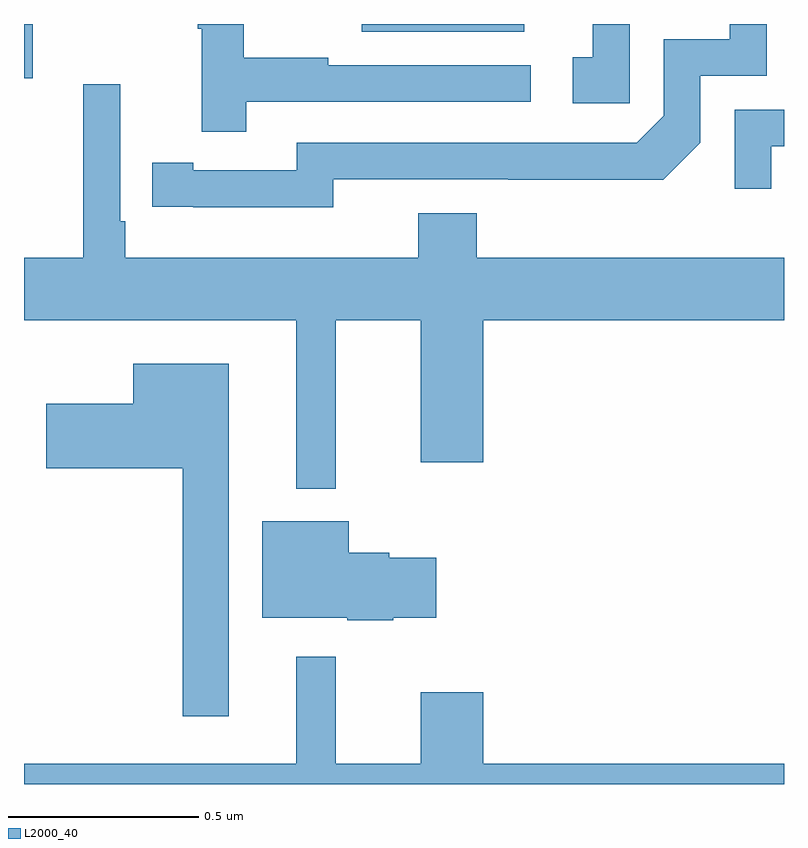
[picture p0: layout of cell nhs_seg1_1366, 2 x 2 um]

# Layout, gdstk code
import gdstk
lib = gdstk.Library(unit=1e-6, precision=1e-09)
def R(c, l, rs):  # rectangles x0, y0, x1, y1
    for r in rs: c.add(gdstk.rectangle(r[:2], r[2:], *l))
def P(c, l, *ps):  # polygons
    for p in ps: c.add(gdstk.Polygon(p, *l))
L2000_40 = (2000, 40)

nhs_seg1_1366 = lib.new_cell('nhs_seg1_1366')
R(nhs_seg1_1366, L2000_40, [(128,531.056,128.023,531.199), (128.889,531.179,129.316,531.199)])
P(nhs_seg1_1366, L2000_40, [(129.594,531.199),(129.497,531.199),(129.497,531.111),(129.444,531.111),(129.444,530.991),(129.594,530.991)],
  [(128.585,530.994),(129.334,530.994),(129.334,531.09),(128.801,531.09),(128.801,531.11),(128.578,531.11),(128.578,531.199),(128.457,531.199),(128.457,531.187),(128.468,531.187),(128.468,530.916),(128.585,530.916)],
  [(128.814,530.79),(129.274,530.79),(129.274,530.789),(129.682,530.789),(129.78,530.886),(129.78,531.063),(129.954,531.063),(129.954,531.199),(129.857,531.199),(129.857,531.159),(129.684,531.159),(129.684,530.958),(129.612,530.886),(128.718,530.886),(128.718,530.814),(128.446,530.814),(128.446,530.834),(128.338,530.834),(128.338,530.718),(128.446,530.718),(128.446,530.717),(128.814,530.717)],
  [(128.821,530.42),(129.044,530.42),(129.044,530.046),(129.208,530.046),(129.208,530.42),(130,530.42),(130,530.584),(129.191,530.584),(129.191,530.701),(129.038,530.701),(129.038,530.584),(128.267,530.584),(128.267,530.68),(128.253,530.68),(128.253,531.04),(128.156,531.04),(128.156,530.584),(128,530.584),(128,530.42),(128.717,530.42),(128.717,529.976),(128.821,529.976)],
  [(129.967,530.877),(130,530.877),(130,530.973),(129.87,530.973),(129.87,530.766),(129.967,530.766)],
  [(128.539,530.305),(128.288,530.305),(128.288,530.2),(128.058,530.2),(128.058,530.03),(128.418,530.03),(128.418,529.377),(128.539,529.377)],
  [(128.972,529.637),(129.085,529.637),(129.085,529.795),(128.961,529.795),(128.961,529.808),(128.854,529.808),(128.854,529.891),(128.627,529.891),(128.627,529.637),(128.85,529.637),(128.85,529.63),(128.972,529.63)],
  [(130,529.252),(129.208,529.252),(129.208,529.441),(129.044,529.441),(129.044,529.252),(128.821,529.252),(128.821,529.534),(128.717,529.534),(128.717,529.252),(128,529.252),(128,529.199),(130,529.199)])

lib.write_gds('nhs_seg1_1366.gds')
